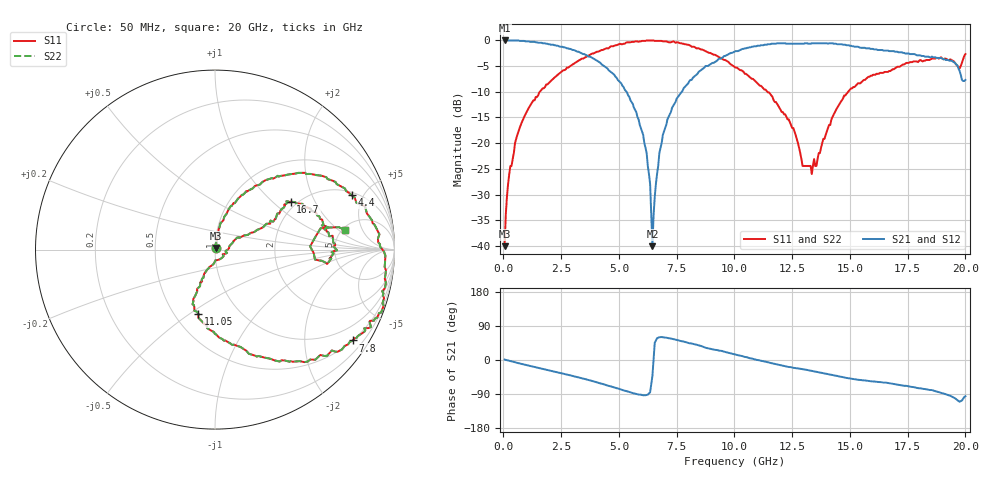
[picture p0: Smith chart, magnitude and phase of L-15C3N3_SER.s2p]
# MHZ S MA R 50
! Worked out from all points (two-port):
!   400 points, 50 MHz to 20 GHz, reference 50 ohm
!   highest |S21| = -0.09 dB at 50 MHz (marker M1); lowest = -40.0 dB at 6.45 GHz (marker M2)
!   |S21| within 3 dB of the highest: start of sweep to 3.646 GHz; 9.604 GHz to 18.1 GHz (8.491 GHz wide, 61.3 % of centre)
!   lowest |S11| = -40.0 dB at 50 MHz (marker M3), VSWR 1.02, Z = 50.3 + j0.955 ohm
!   |S11| at or under -10 dB: start of sweep to 1.581 GHz; 11.42 GHz to 14.93 GHz (3.513 GHz wide, 26.7 % of centre)
!   |S22| runs from -40.0 to -0.1 dB; largest |S21 - S12| = 0
!   S11 on the Smith chart (normalised r, x): 50 MHz: 1.01, +0.02; 4.4 GHz: 2.20, +4.08; 7.8 GHz: 0.50, -3.26; 11.05 GHz: 0.65, -0.54; 16.7 GHz: 1.85, +1.32; 20 GHz: 5.21, +2.46
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50  0.01 71.7  0.99 1.0  0.99 1.0  0.01 71.7
250  0.05 78.5  0.99 -2.0  0.99 -2.0  0.05 78.5
800  0.16 76.1  0.98 -10.6  0.98 -10.6  0.16 76.1
3400  0.66 40.4  0.74 -48.3  0.74 -48.3  0.66 40.4
4400  0.82 21.7  0.55 -65.3  0.55 -65.3  0.82 21.7
6050  0.98 -16.7  0.12 -93.1  0.12 -93.1  0.98 -16.7
6350  0.99 -19.5  0.04 -85.2  0.04 -85.2  0.99 -19.5
6450  0.99 -20.5  0.01 -41.9  0.01 -41.9  0.99 -20.5
6550  0.98 -21.1  0.03 45.4  0.03 45.4  0.98 -21.1
6700  0.98 -22.0  0.06 58.8  0.06 58.8  0.98 -22.0
7100  0.96 -24.4  0.17 58.2  0.17 58.2  0.96 -24.4
7800  0.92 -33.4  0.34 48.6  0.34 48.6  0.92 -33.4
10050  0.54 -78.7  0.78 14.4  0.78 14.4  0.54 -78.7
11050  0.37 -104.4  0.88 -0.5  0.88 -0.5  0.37 -104.4
12350  0.17 -112.2  0.92 -18.5  0.92 -18.5  0.17 -112.2
12950  0.06 -88.3  0.92 -24.4  0.92 -24.4  0.06 -88.3
13350  0.05 -31.5  0.93 -28.6  0.93 -28.6  0.05 -31.5
14750  0.29 24.8  0.9 -46.0  0.9 -46.0  0.29 24.8
16700  0.5 32.4  0.78 -61.2  0.78 -61.2  0.5 32.4
19450  0.63 -7.3  0.62 -97.8  0.62 -97.8  0.63 -7.3
19750  0.53 1.9  0.5 -110.1  0.5 -110.1  0.53 1.9
20000  0.73 8.7  0.41 -95.4  0.41 -95.4  0.73 8.7
